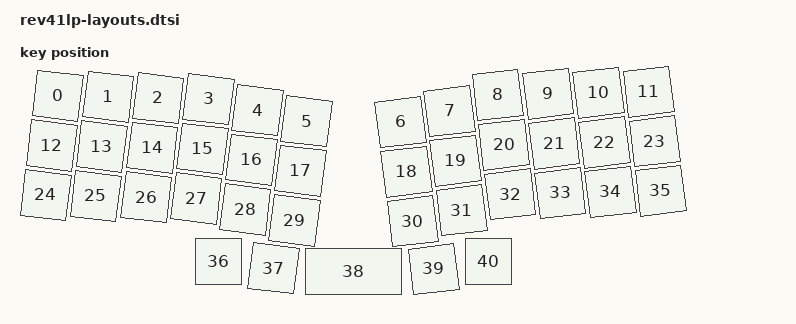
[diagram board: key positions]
#include <physical_layouts.dtsi>

/ {
    physical_layout0: physical_layout_0 {
        compatible = "zmk,physical-layout";
        display-name = "rev41lp";

        kscan = <&kscan0>;
        transform = <&default_transform>;

        keys  //                     w   h    x    y     rot    rx    ry
            = <&key_physical_attrs 100 100    0   30     700 (-20) (-10)>
            , <&key_physical_attrs 100 100  100   20     700 (-20) (-10)>
            , <&key_physical_attrs 100 100  200   10     700 (-20) (-10)>
            , <&key_physical_attrs 100 100  300    0     700 (-20) (-10)>
            , <&key_physical_attrs 100 100  400   10     700 (-20) (-10)>
            , <&key_physical_attrs 100 100  500   20     700 (-20) (-10)>
            , <&key_physical_attrs 100 100  650  180  (-700) (-20) (-10)>
            , <&key_physical_attrs 100 100  750  170  (-700) (-20) (-10)>
            , <&key_physical_attrs 100 100  850  150  (-700) (-20) (-10)>
            , <&key_physical_attrs 100 100  950  160  (-700) (-20) (-10)>
            , <&key_physical_attrs 100 100 1050  170  (-700) (-20) (-10)>
            , <&key_physical_attrs 100 100 1150  180  (-700) (-20) (-10)>
            , <&key_physical_attrs 100 100    0  130     700 (-20) (-10)>
            , <&key_physical_attrs 100 100  100  120     700 (-20) (-10)>
            , <&key_physical_attrs 100 100  200  110     700 (-20) (-10)>
            , <&key_physical_attrs 100 100  300  100     700 (-20) (-10)>
            , <&key_physical_attrs 100 100  400  110     700 (-20) (-10)>
            , <&key_physical_attrs 100 100  500  120     700 (-20) (-10)>
            , <&key_physical_attrs 100 100  650  280  (-700) (-20) (-10)>
            , <&key_physical_attrs 100 100  750  270  (-700) (-20) (-10)>
            , <&key_physical_attrs 100 100  850  250  (-700) (-20) (-10)>
            , <&key_physical_attrs 100 100  950  260  (-700) (-20) (-10)>
            , <&key_physical_attrs 100 100 1050  270  (-700) (-20) (-10)>
            , <&key_physical_attrs 100 100 1150  280  (-700) (-20) (-10)>
            , <&key_physical_attrs 100 100    0  230     700 (-20) (-10)>
            , <&key_physical_attrs 100 100  100  220     700 (-20) (-10)>
            , <&key_physical_attrs 100 100  200  210     700 (-20) (-10)>
            , <&key_physical_attrs 100 100  300  200     700 (-20) (-10)>
            , <&key_physical_attrs 100 100  400  210     700 (-20) (-10)>
            , <&key_physical_attrs 100 100  500  220     700 (-20) (-10)>
            , <&key_physical_attrs 100 100  650  380  (-700) (-20) (-10)>
            , <&key_physical_attrs 100 100  750  370  (-700) (-20) (-10)>
            , <&key_physical_attrs 100 100  850  350  (-700) (-20) (-10)>
            , <&key_physical_attrs 100 100  950  360  (-700) (-20) (-10)>
            , <&key_physical_attrs 100 100 1050  370  (-700) (-20) (-10)>
            , <&key_physical_attrs 100 100 1150  380  (-700) (-20) (-10)>
            , <&key_physical_attrs 100 100  310  370       0     0     0>
            , <&key_physical_attrs 100 100  470  320     700 (-20) (-10)>
            , <&key_physical_attrs 200 100  530  390       0     0     0>
            , <&key_physical_attrs 100 100  680  480  (-700) (-20) (-10)>
            , <&key_physical_attrs 100 100  850  370       0     0     0>
            ;
    };
};
